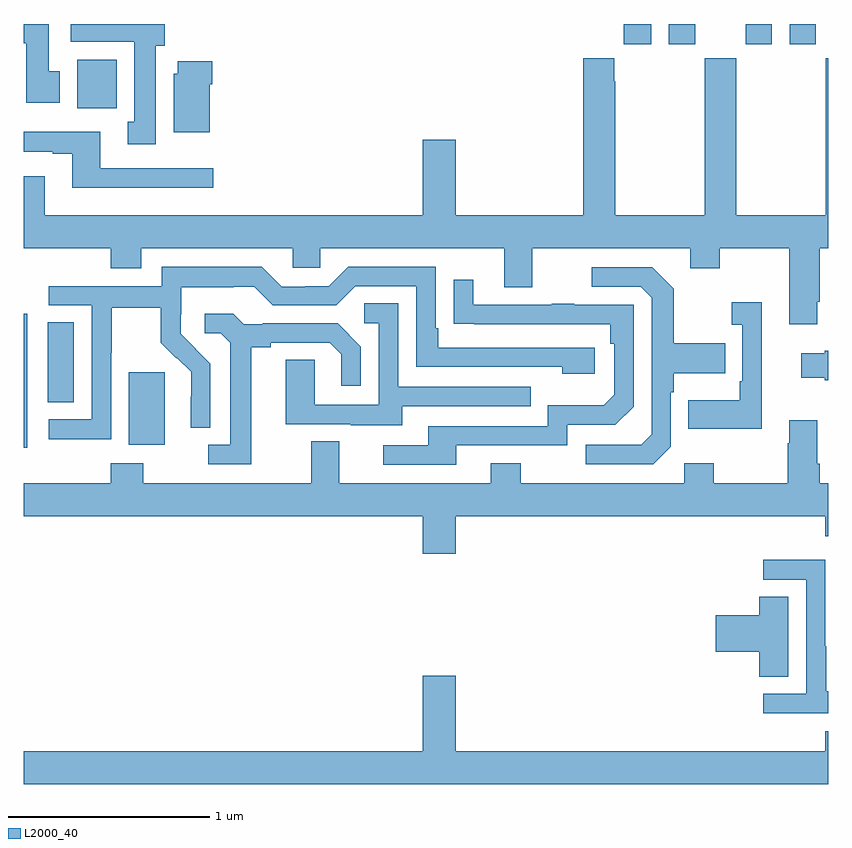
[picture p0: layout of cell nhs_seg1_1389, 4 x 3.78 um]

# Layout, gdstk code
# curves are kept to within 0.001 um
import gdstk
lib = gdstk.Library(unit=1e-6, precision=1e-09)
def R(c, l, rs):  # rectangles x0, y0, x1, y1
    for r in rs: c.add(gdstk.rectangle(r[:2], r[2:], *l))
def P(c, l, *ps):  # polygons
    for p in ps: c.add(gdstk.Polygon(p, *l))
L2000_40 = (2000, 40)

nhs_seg1_1389 = lib.new_cell('nhs_seg1_1389')
R(nhs_seg1_1389, L2000_40, [(187,532.092,187.018,532.759), (187.523,532.106,187.702,532.467), (187.118,532.318,187.249,532.715), (187.265,533.78,187.462,534.022), (189.983,534.099,190.12,534.199), (190.208,534.099,190.339,534.199), (190.589,534.099,190.72,534.199), (190.808,534.099,190.939,534.199)])
P(nhs_seg1_1389, L2000_40, [(187.18,533.964),(187.123,533.964),(187.123,534.199),(187,534.199),(187,534.104),(187.013,534.104),(187.013,533.808),(187.18,533.808)],
  [(187.657,534.09),(187.702,534.09),(187.702,534.199),(187.233,534.199),(187.233,534.11),(187.55,534.11),(187.55,533.714),(187.517,533.714),(187.517,533.601),(187.657,533.601)],
  [(190.945,532.819),(190.958,532.819),(190.958,533.084),(191,533.084),(191,534.028),(190.987,534.028),(190.987,533.248),(190.542,533.248),(190.542,534.028),(190.387,534.028),(190.387,533.248),(189.942,533.248),(189.942,533.915),(189.937,533.915),(189.937,534.028),(189.782,534.028),(189.782,533.248),(189.148,533.248),(189.148,533.623),(188.984,533.623),(188.984,533.248),(187.105,533.248),(187.105,533.443),(187,533.443),(187,533.084),(187.433,533.084),(187.433,532.985),(187.585,532.985),(187.585,533.084),(188.337,533.084),(188.337,532.986),(188.475,532.986),(188.475,533.084),(189.389,533.084),(189.389,532.89),(189.529,532.89),(189.529,533.084),(190.313,533.084),(190.313,532.985),(190.461,532.985),(190.461,533.084),(190.805,533.084),(190.805,532.707),(190.945,532.707)],
  [(187.924,533.9),(187.937,533.9),(187.937,534.013),(187.766,534.013),(187.766,533.952),(187.745,533.952),(187.745,533.66),(187.924,533.66)],
  [(187.942,533.481),(187.381,533.481),(187.381,533.662),(187,533.662),(187,533.565),(187.145,533.565),(187.145,533.553),(187.241,533.553),(187.241,533.384),(187.942,533.384)],
  [(187.434,532.564),(187.437,532.564),(187.437,532.788),(187.681,532.788),(187.681,532.613),(187.758,532.536),(187.761,532.539),(187.832,532.469),(187.832,532.346),(187.83,532.346),(187.83,532.192),(187.926,532.192),(187.926,532.51),(187.78,532.658),(187.78,532.755),(187.782,532.755),(187.782,532.889),(188.045,532.889),(188.045,532.893),(188.145,532.893),(188.238,532.8),(188.553,532.8),(188.649,532.896),(188.952,532.896),(188.952,532.494),(189.677,532.494),(189.677,532.46),(189.838,532.46),(189.838,532.59),(189.061,532.59),(189.061,532.687),(189.048,532.687),(189.048,532.992),(188.613,532.992),(188.517,532.896),(188.399,532.896),(188.399,532.893),(188.283,532.893),(188.183,532.993),(187.686,532.993),(187.686,532.896),(187.125,532.896),(187.125,532.8),(187.338,532.8),(187.338,532.233),(187.125,532.233),(187.125,532.135),(187.434,532.135)],
  [(190.218,532.098),(190.218,532.367),(190.231,532.367),(190.231,532.463),(190.487,532.463),(190.487,532.611),(190.231,532.611),(190.231,532.883),(190.125,532.989),(189.825,532.989),(189.825,532.893),(190.068,532.893),(190.122,532.839),(190.122,532.158),(190.071,532.107),(189.795,532.107),(189.795,532.011),(190.131,532.011)],
  [(189.151,532.104),(189.702,532.104),(189.702,532.206),(189.942,532.206),(190.032,532.296),(190.032,532.803),(189.737,532.803),(189.737,532.808),(189.625,532.808),(189.625,532.803),(189.235,532.803),(189.235,532.927),(189.139,532.927),(189.139,532.708),(189.916,532.707),(189.916,532.61),(189.936,532.61),(189.936,532.356),(189.883,532.303),(189.606,532.303),(189.606,532.2),(189.011,532.2),(189.011,532.104),(188.787,532.104),(188.787,532.008),(189.151,532.008)],
  [(190.67,532.816),(190.521,532.816),(190.521,532.703),(190.572,532.703),(190.572,532.423),(190.56,532.423),(190.56,532.327),(190.303,532.327),(190.303,532.187),(190.67,532.187)],
  [(188.881,532.299),(189.521,532.299),(189.521,532.395),(188.862,532.395),(188.862,532.811),(188.694,532.811),(188.694,532.71),(188.766,532.71),(188.766,532.305),(188.448,532.305),(188.448,532.529),(188.303,532.529),(188.303,532.209),(188.627,532.209),(188.627,532.205),(188.881,532.205)],
  [(188.131,532.592),(188.227,532.592),(188.227,532.614),(188.522,532.614),(188.579,532.557),(188.579,532.401),(188.676,532.401),(188.676,532.594),(188.56,532.71),(188.188,532.71),(188.188,532.707),(188.094,532.707),(188.042,532.759),(187.899,532.759),(187.899,532.662),(187.98,532.662),(188.027,532.615),(188.027,532.107),(187.917,532.107),(187.917,532.011),(188.131,532.011)],
  [(191,532.574),(190.982,532.574),(190.982,532.561),(190.866,532.561),(190.866,532.439),(190.982,532.439),(190.982,532.427),(191,532.427)],
  [(189.148,531.752),(190.985,531.752),(190.985,531.653),(191,531.653),(191,531.916),(190.958,531.916),(190.958,532.012),(190.945,532.012),(190.945,532.228),(190.805,532.228),(190.805,532.115),(190.798,532.115),(190.798,531.916),(190.431,531.916),(190.431,532.015),(190.284,532.015),(190.284,531.916),(189.471,531.916),(189.471,532.015),(189.323,532.015),(189.323,531.916),(188.569,531.916),(188.569,532.124),(188.429,532.124),(188.429,531.916),(187.593,531.916),(187.593,532.015),(187.433,532.015),(187.433,531.916),(187,531.916),(187,531.752),(188.984,531.752),(188.984,531.564),(189.148,531.564)],
  [(191,530.881),(190.989,530.881),(190.989,531.104),(190.986,531.104),(190.986,531.534),(190.677,531.534),(190.677,531.435),(190.89,531.435),(190.89,530.868),(190.677,530.868),(190.677,530.772),(191,530.772)],
  [(190.801,531.35),(190.658,531.35),(190.658,531.26),(190.44,531.26),(190.44,531.077),(190.658,531.077),(190.658,530.953),(190.801,530.953)],
  [(191,530.683),(190.985,530.683),(190.985,530.584),(189.148,530.584),(189.148,530.959),(188.984,530.959),(188.984,530.584),(187,530.584),(187,530.42),(191,530.42)])

lib.write_gds('nhs_seg1_1389.gds')
